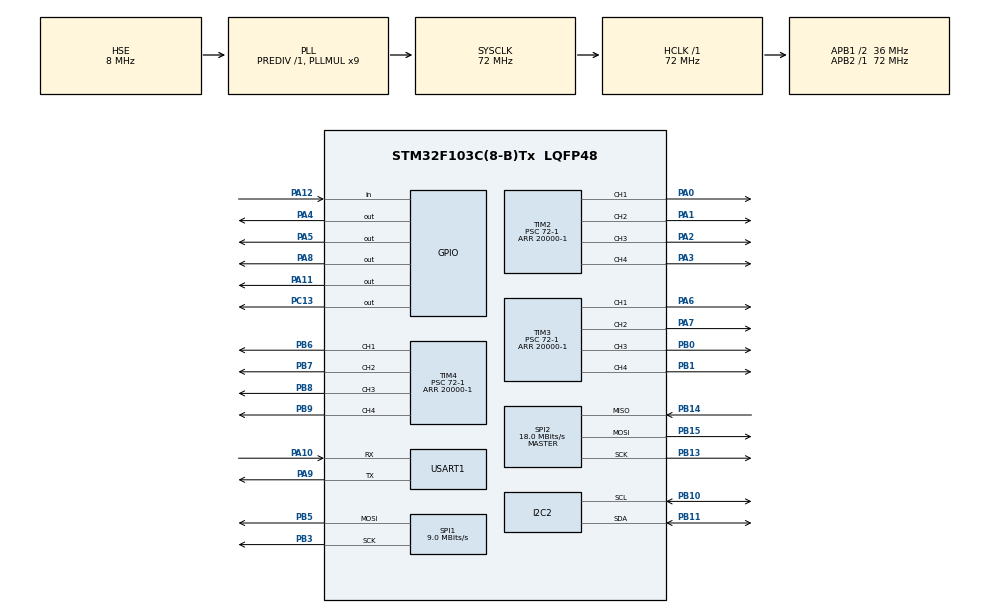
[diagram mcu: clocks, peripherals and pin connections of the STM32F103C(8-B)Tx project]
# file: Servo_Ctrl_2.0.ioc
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FREERTOS.Mutexes01=Servo_data_mutex,Dynamic,NULL
FREERTOS.Tasks01=defaultTask,24,128,StartDefaultTask,Default,NULL,Dynamic,NULL,NULL;Servo_turn,47,128,Servo_turn_task,Default,NULL,Dynamic,NULL,NULL
Mcu.Family=STM32F1
Mcu.Name=STM32F103C(8-B)Tx
Mcu.Package=LQFP48
NVIC.PriorityGroup=NVIC_PRIORITYGROUP_4
NVIC.USART1_IRQn=true\:5\:0\:false\:false\:true\:true\:true\:true\:true
PA0-WKUP.Signal=S_TIM2_CH1_ETR
PA1.Signal=S_TIM2_CH2
PA10.Mode=Asynchronous
PA10.Signal=USART1_RX
PA11.Signal=GPIO_Output
PA12.Signal=GPIO_Input
PA13.Mode=Serial_Wire
PA13.Signal=SYS_JTMS-SWDIO
PA14.Mode=Serial_Wire
PA14.Signal=SYS_JTCK-SWCLK
PA2.Signal=S_TIM2_CH3
PA3.Signal=S_TIM2_CH4
PA4.Signal=GPIO_Output
PA5.Signal=GPIO_Output
PA6.Signal=S_TIM3_CH1
PA7.Signal=S_TIM3_CH2
PA8.Signal=GPIO_Output
PA9.Mode=Asynchronous
PA9.Signal=USART1_TX
PB0.Signal=S_TIM3_CH3
PB1.Signal=S_TIM3_CH4
PB10.Mode=I2C
PB10.Signal=I2C2_SCL
PB11.Mode=I2C
PB11.Signal=I2C2_SDA
PB13.Mode=Full_Duplex_Master
PB13.Signal=SPI2_SCK
PB14.Mode=Full_Duplex_Master
PB14.Signal=SPI2_MISO
PB15.Mode=Full_Duplex_Master
PB15.Signal=SPI2_MOSI
PB3.Mode=TX_Only_Simplex_Unidirect_Master
PB3.Signal=SPI1_SCK
PB5.Mode=TX_Only_Simplex_Unidirect_Master
PB5.Signal=SPI1_MOSI
PB6.Signal=S_TIM4_CH1
PB7.Signal=S_TIM4_CH2
PB8.Signal=S_TIM4_CH3
PB9.Signal=S_TIM4_CH4
PC13-TAMPER-RTC.Signal=GPIO_Output
PD0-OSC_IN.Mode=HSE-External-Oscillator
PD0-OSC_IN.Signal=RCC_OSC_IN
PD1-OSC_OUT.Mode=HSE-External-Oscillator
PD1-OSC_OUT.Signal=RCC_OSC_OUT
ProjectManager.HeapSize=0x200
ProjectManager.StackSize=0x400
ProjectManager.TargetToolchain=MDK-ARM V5.32
RCC.AHBFreq_Value=72000000
RCC.APB1CLKDivider=RCC_HCLK_DIV2
RCC.APB1Freq_Value=36000000
RCC.APB1TimFreq_Value=72000000
RCC.APB2Freq_Value=72000000
RCC.APB2TimFreq_Value=72000000
RCC.HCLKFreq_Value=72000000
RCC.PLLMUL=RCC_PLL_MUL9
RCC.PLLSourceVirtual=RCC_PLLSOURCE_HSE
RCC.SYSCLKFreq_VALUE=72000000
RCC.SYSCLKSource=RCC_SYSCLKSOURCE_PLLCLK
RCC.USBFreq_Value=72000000
SH.S_TIM2_CH1_ETR.0=TIM2_CH1,PWM Generation1 CH1
SH.S_TIM2_CH2.0=TIM2_CH2,PWM Generation2 CH2
SH.S_TIM2_CH3.0=TIM2_CH3,PWM Generation3 CH3
SH.S_TIM2_CH4.0=TIM2_CH4,PWM Generation4 CH4
SH.S_TIM3_CH1.0=TIM3_CH1,PWM Generation1 CH1
SH.S_TIM3_CH2.0=TIM3_CH2,PWM Generation2 CH2
SH.S_TIM3_CH3.0=TIM3_CH3,PWM Generation3 CH3
SH.S_TIM3_CH4.0=TIM3_CH4,PWM Generation4 CH4
SH.S_TIM4_CH1.0=TIM4_CH1,PWM Generation1 CH1
SH.S_TIM4_CH2.0=TIM4_CH2,PWM Generation2 CH2
SH.S_TIM4_CH3.0=TIM4_CH3,PWM Generation3 CH3
SH.S_TIM4_CH4.0=TIM4_CH4,PWM Generation4 CH4
SPI1.BaudRatePrescaler=SPI_BAUDRATEPRESCALER_8
SPI1.CalculateBaudRate=9.0 MBits/s
SPI1.Direction=SPI_DIRECTION_2LINES
SPI1.Mode=SPI_MODE_MASTER
SPI1.VirtualType=VM_MASTER
SPI2.CalculateBaudRate=18.0 MBits/s
SPI2.Direction=SPI_DIRECTION_2LINES
SPI2.Mode=SPI_MODE_MASTER
SPI2.VirtualType=VM_MASTER
TIM2.Channel-PWM\ Generation1\ CH1=TIM_CHANNEL_1
TIM2.Channel-PWM\ Generation2\ CH2=TIM_CHANNEL_2
TIM2.Channel-PWM\ Generation3\ CH3=TIM_CHANNEL_3
TIM2.Channel-PWM\ Generation4\ CH4=TIM_CHANNEL_4
TIM2.Period=20000-1
TIM2.Prescaler=72-1
TIM3.Channel-PWM\ Generation1\ CH1=TIM_CHANNEL_1
TIM3.Channel-PWM\ Generation2\ CH2=TIM_CHANNEL_2
TIM3.Channel-PWM\ Generation3\ CH3=TIM_CHANNEL_3
TIM3.Channel-PWM\ Generation4\ CH4=TIM_CHANNEL_4
TIM3.Period=20000-1
TIM3.Prescaler=72-1
TIM4.Channel-PWM\ Generation1\ CH1=TIM_CHANNEL_1
TIM4.Channel-PWM\ Generation2\ CH2=TIM_CHANNEL_2
TIM4.Channel-PWM\ Generation3\ CH3=TIM_CHANNEL_3
TIM4.Channel-PWM\ Generation4\ CH4=TIM_CHANNEL_4
TIM4.Period=20000-1
TIM4.Prescaler=72-1
USART1.VirtualMode=VM_ASYNC
VP_CRC_VS_CRC.Mode=CRC_Activate
VP_FREERTOS_VS_CMSIS_V2.Mode=CMSIS_V2
board=custom

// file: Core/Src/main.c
/* USER CODE BEGIN Header */
/**
  ******************************************************************************
  * @file           : main.c
  * @brief          : Main program body
  ******************************************************************************
  * @attention
  *
  * Copyright (c) 2024 STMicroelectronics.
  * All rights reserved.
  *
  * This software is licensed under terms that can be found in the LICENSE file
  * in the root directory of this software component.
  * If no LICENSE file comes with this software, it is provided AS-IS.
  *
  ******************************************************************************
  */
/* USER CODE END Header */
#include "main.h"
#include "cmsis_os.h"
#include "crc.h"
#include "i2c.h"
#include "spi.h"
#include "tim.h"
#include "usart.h"
#include "gpio.h"

/* USER CODE BEGIN Includes */
#include <servo.h>
/* USER CODE END Includes */

/* USER CODE BEGIN PV */
uint8_t servos[15];
/* USER CODE END PV */

void SystemClock_Config(void);
void MX_FREERTOS_Init(void);

int main(void)
{

  /* MCU Configuration--------------------------------------------------------*/

  /* Reset of all peripherals, Initializes the Flash interface and the Systick. */
  HAL_Init();

  /* Configure the system clock */
  SystemClock_Config();

  /* Initialize all configured peripherals */
  MX_GPIO_Init();
  MX_I2C2_Init();
  MX_SPI1_Init();
  MX_SPI2_Init();
  MX_TIM2_Init();
  MX_TIM3_Init();
  MX_TIM4_Init();
  MX_USART1_UART_Init();
  MX_CRC_Init();
  /* USER CODE BEGIN 2 */
	HAL_TIM_PWM_Start (&htim2,TIM_CHANNEL_1);
	HAL_TIM_PWM_Start (&htim2,TIM_CHANNEL_2);
	HAL_TIM_PWM_Start (&htim2,TIM_CHANNEL_3);
	HAL_TIM_PWM_Start (&htim2,TIM_CHANNEL_4);
	HAL_TIM_PWM_Start (&htim3,TIM_CHANNEL_1);
	HAL_TIM_PWM_Start (&htim3,TIM_CHANNEL_2);
	HAL_TIM_PWM_Start (&htim3,TIM_CHANNEL_3);
	HAL_TIM_PWM_Start (&htim3,TIM_CHANNEL_4);
	HAL_TIM_PWM_Start (&htim4,TIM_CHANNEL_1);
	HAL_TIM_PWM_Start (&htim4,TIM_CHANNEL_2);
	HAL_TIM_PWM_Start (&htim4,TIM_CHANNEL_3);
	HAL_TIM_PWM_Start (&htim4,TIM_CHANNEL_4);

	Servo_init();

	HAL_UART_Receive_IT(&huart1, servos,15);

  /* USER CODE END 2 */

  /* Init scheduler */
  osKernelInitialize();  /* Call init function for freertos objects (in freertos.c) */
  MX_FREERTOS_Init();

  /* Start scheduler */
  osKernelStart();
  /* We should never get here as control is now taken by the scheduler */
  /* Infinite loop */
  while (1)
  {

  }
}

void SystemClock_Config(void)
{
  RCC_OscInitTypeDef RCC_OscInitStruct = {0};
  RCC_ClkInitTypeDef RCC_ClkInitStruct = {0};

  /** Initializes the RCC Oscillators according to the specified parameters
  * in the RCC_OscInitTypeDef structure.
  */
  RCC_OscInitStruct.OscillatorType = RCC_OSCILLATORTYPE_HSE;
  RCC_OscInitStruct.HSEState = RCC_HSE_ON;
  RCC_OscInitStruct.HSEPredivValue = RCC_HSE_PREDIV_DIV1;
  RCC_OscInitStruct.HSIState = RCC_HSI_ON;
  RCC_OscInitStruct.PLL.PLLState = RCC_PLL_ON;
  RCC_OscInitStruct.PLL.PLLSource = RCC_PLLSOURCE_HSE;
  RCC_OscInitStruct.PLL.PLLMUL = RCC_PLL_MUL9;
  if (HAL_RCC_OscConfig(&RCC_OscInitStruct) != HAL_OK)
  {
    Error_Handler();
  }

  /** Initializes the CPU, AHB and APB buses clocks
  */
  RCC_ClkInitStruct.ClockType = RCC_CLOCKTYPE_HCLK|RCC_CLOCKTYPE_SYSCLK
                              |RCC_CLOCKTYPE_PCLK1|RCC_CLOCKTYPE_PCLK2;
  RCC_ClkInitStruct.SYSCLKSource = RCC_SYSCLKSOURCE_PLLCLK;
  RCC_ClkInitStruct.AHBCLKDivider = RCC_SYSCLK_DIV1;
  RCC_ClkInitStruct.APB1CLKDivider = RCC_HCLK_DIV2;
  RCC_ClkInitStruct.APB2CLKDivider = RCC_HCLK_DIV1;

  if (HAL_RCC_ClockConfig(&RCC_ClkInitStruct, FLASH_LATENCY_2) != HAL_OK)
  {
    Error_Handler();
  }
}

void Error_Handler(void)
{
  __disable_irq();
  while (1)
  {
  }
}

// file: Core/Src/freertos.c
/* USER CODE BEGIN Header */
/**
  ******************************************************************************
  * File Name          : freertos.c
  * Description        : Code for freertos applications
  ******************************************************************************
  * @attention
  *
  * Copyright (c) 2024 STMicroelectronics.
  * All rights reserved.
  *
  * This software is licensed under terms that can be found in the LICENSE file
  * in the root directory of this software component.
  * If no LICENSE file comes with this software, it is provided AS-IS.
  *
  ******************************************************************************
  */
/* USER CODE END Header */

#include "FreeRTOS.h"
#include "task.h"
#include "main.h"
#include "cmsis_os.h"

/* USER CODE BEGIN Includes */
#include "usart.h"
#include <servo.h>
#include "semphr.h"
/* USER CODE END Includes */

/* USER CODE BEGIN Variables */
extern uint8_t servos[14];
/* USER CODE END Variables */
/* Definitions for defaultTask */
osThreadId_t defaultTaskHandle;
const osThreadAttr_t defaultTask_attributes = {
  .name = "defaultTask",
  .stack_size = 128 * 4,
  .priority = (osPriority_t) osPriorityNormal,
};
/* Definitions for Servo_turn */
osThreadId_t Servo_turnHandle;
const osThreadAttr_t Servo_turn_attributes = {
  .name = "Servo_turn",
  .stack_size = 128 * 4,
  .priority = (osPriority_t) osPriorityHigh7,
};
/* Definitions for Servo_data_mutex */
osMutexId_t Servo_data_mutexHandle;
const osMutexAttr_t Servo_data_mutex_attributes = {
  .name = "Servo_data_mutex"
};

void StartDefaultTask(void *argument);
void Servo_turn_task(void *argument);

void MX_FREERTOS_Init(void); /* (MISRA C 2004 rule 8.1) */

void MX_FREERTOS_Init(void) {
  /* Create the mutex(es) */
  /* creation of Servo_data_mutex */
  Servo_data_mutexHandle = osMutexNew(&Servo_data_mutex_attributes);

  /* Create the thread(s) */
  /* creation of defaultTask */
  defaultTaskHandle = osThreadNew(StartDefaultTask, NULL, &defaultTask_attributes);

  /* creation of Servo_turn */
  Servo_turnHandle = osThreadNew(Servo_turn_task, NULL, &Servo_turn_attributes);

}

void StartDefaultTask(void *argument)
{
  /* USER CODE BEGIN StartDefaultTask */
  /* Infinite loop */
  for(;;)
  {
		HAL_GPIO_TogglePin(GPIOC,GPIO_PIN_13);
    osDelay(500);
  }
  /* USER CODE END StartDefaultTask */
}

void Servo_turn_task(void *argument)
{
  /* USER CODE BEGIN Servo_turn_task */
  /* Infinite loop */
  for(;;)
  {
	  if (osMutexAcquire(Servo_data_mutexHandle, osWaitForever) == osOK)
		{ //运用互斥量搭建的临界区
			Servo_calc();
			osMutexRelease(Servo_data_mutexHandle);
		}

    osDelay(20);
  }
  /* USER CODE END Servo_turn_task */
}

/* USER CODE BEGIN Application */
void HAL_UART_RxCpltCallback(UART_HandleTypeDef *huart)//串口接收完成回调函数
{
	if(huart->Instance == USART1)
	{

		Servo_data_rec();

		HAL_UART_Receive_IT(&huart1, servos,15);
	}
}
/* USER CODE END Application */
